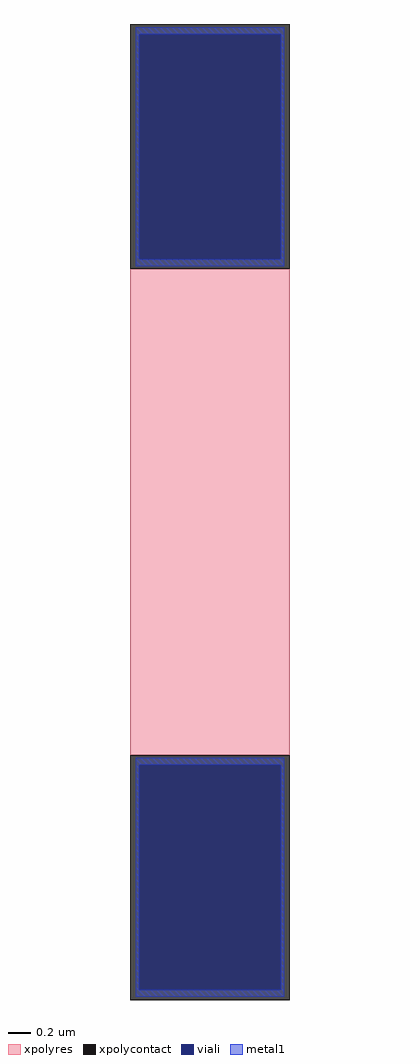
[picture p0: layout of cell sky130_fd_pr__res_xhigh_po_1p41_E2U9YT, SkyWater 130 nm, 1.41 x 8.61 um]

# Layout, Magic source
magic
tech sky130A
magscale 1 2
<< xpolycontact >>
rect -141 429 141 861
rect -141 -861 141 -429
<< xpolyres >>
rect -141 -429 141 429
<< viali >>
rect -125 446 125 843
rect -125 -843 125 -446
<< metal1 >>
rect -131 843 131 855
rect -131 446 -125 843
rect 125 446 131 843
rect -131 434 131 446
rect -131 -446 131 -434
rect -131 -843 -125 -446
rect 125 -843 131 -446
rect -131 -855 131 -843
<< properties >>
string gencell sky130_fd_pr__res_xhigh_po_1p41
string library sky130
string parameters w 1.410 l 4.449 m 1 nx 1 wmin 1.410 lmin 0.50 rho 2000 val 6.577k dummy 0 dw 0.0 term 188.2 sterm 0.0 caplen 0 wmax 1.410 guard 0 glc 1 grc 1 gtc 1 gbc 1 compatible {sky130_fd_pr__res_xhigh_po_0p35  sky130_fd_pr__res_xhigh_po_0p69 sky130_fd_pr__res_xhigh_po_1p41  sky130_fd_pr__res_xhigh_po_2p85 sky130_fd_pr__res_xhigh_po_5p73} snake 0 full_metal 1 n_guard 0 hv_guard 0 vias 1 viagb 0 viagt 0 viagl 0 viagr 0
<< end >>
